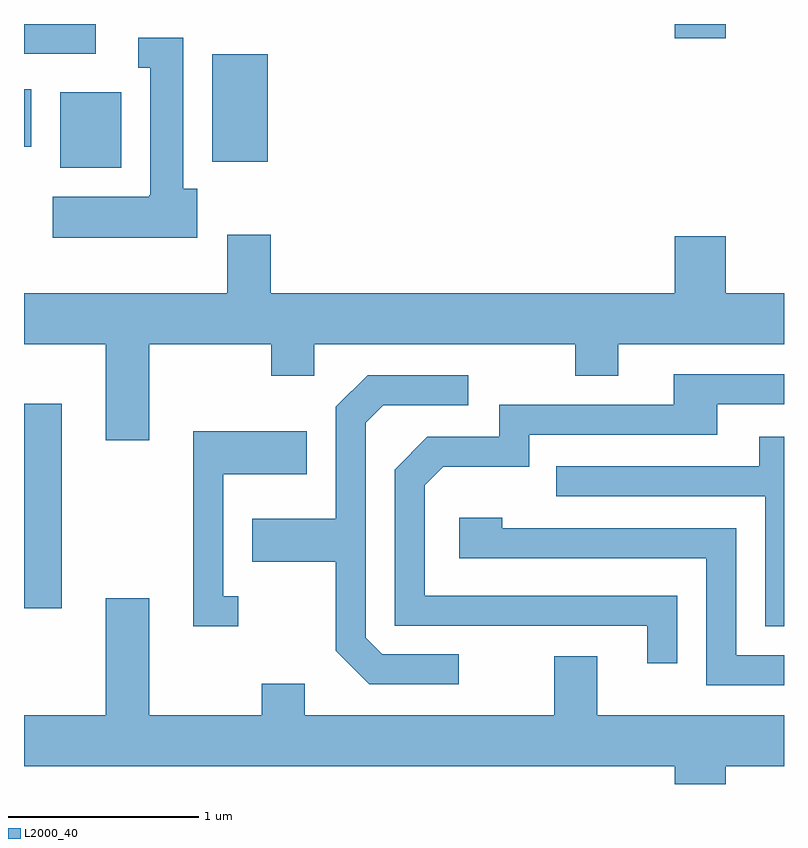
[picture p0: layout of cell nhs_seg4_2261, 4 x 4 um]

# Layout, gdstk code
import gdstk
lib = gdstk.Library(unit=1e-6, precision=1e-09)
def R(c, l, rs):  # rectangles x0, y0, x1, y1
    for r in rs: c.add(gdstk.rectangle(r[:2], r[2:], *l))
def P(c, l, *ps):  # polygons
    for p in ps: c.add(gdstk.Polygon(p, *l))
L2000_40 = (2000, 40)

nhs_seg4_2261 = lib.new_cell('nhs_seg4_2261')
R(nhs_seg4_2261, L2000_40, [(251.611,1288.906,251.809,1289.984), (251.801,1291.226,252.124,1291.624), (252.601,1291.256,252.894,1291.824), (251.611,1291.336,251.649,1291.639), (251.611,1291.826,251.989,1291.982), (255.036,1291.906,255.304,1291.982)])
P(nhs_seg4_2261, L2000_40, [(252.524,1291.114),(252.449,1291.114),(252.449,1291.909),(252.213,1291.909),(252.213,1291.751),(252.276,1291.751),(252.276,1291.08),(252.27,1291.08),(252.27,1291.074),(251.761,1291.074),(251.761,1290.856),(252.524,1290.856)],
  [(251.611,1290.296),(252.041,1290.296),(252.041,1289.791),(252.269,1289.791),(252.269,1290.296),(252.911,1290.296),(252.911,1290.131),(253.139,1290.131),(253.139,1290.296),(254.511,1290.296),(254.511,1290.131),(254.739,1290.131),(254.739,1290.296),(255.611,1290.296),(255.611,1290.564),(255.304,1290.564),(255.304,1290.864),(255.036,1290.864),(255.036,1290.564),(252.909,1290.564),(252.909,1290.874),(252.681,1290.874),(252.681,1290.564),(251.611,1290.564)],
  [(255.049,1288.974),(253.719,1288.974),(253.719,1289.554),(253.817,1289.651),(254.269,1289.651),(254.269,1289.821),(255.259,1289.821),(255.259,1289.981),(255.611,1289.981),(255.611,1290.139),(255.031,1290.139),(255.031,1289.979),(254.111,1289.979),(254.111,1289.809),(253.734,1289.809),(253.561,1289.637),(253.561,1288.816),(254.891,1288.816),(254.891,1288.618),(255.049,1288.618)],
  [(253.898,1288.664),(253.497,1288.664),(253.409,1288.752),(253.409,1289.884),(253.502,1289.976),(253.948,1289.976),(253.948,1290.134),(253.419,1290.134),(253.251,1289.967),(253.251,1289.379),(252.811,1289.379),(252.811,1289.151),(253.251,1289.151),(253.251,1288.684),(253.429,1288.506),(253.898,1288.506)],
  [(252.738,1288.969),(252.659,1288.969),(252.659,1289.611),(253.099,1289.611),(253.099,1289.839),(252.501,1289.839),(252.501,1288.811),(252.738,1288.811)],
  [(255.611,1289.809),(255.481,1289.809),(255.481,1289.654),(254.413,1289.654),(254.413,1289.496),(255.511,1289.496),(255.511,1288.811),(255.611,1288.811)],
  [(255.611,1288.659),(255.359,1288.659),(255.359,1289.329),(254.129,1289.329),(254.129,1289.384),(253.901,1289.384),(253.901,1289.171),(255.201,1289.171),(255.201,1288.501),(255.611,1288.501)],
  [(255.304,1288.076),(255.611,1288.076),(255.611,1288.344),(254.629,1288.344),(254.629,1288.654),(254.401,1288.654),(254.401,1288.344),(253.089,1288.344),(253.089,1288.509),(252.861,1288.509),(252.861,1288.344),(252.269,1288.344),(252.269,1288.959),(252.041,1288.959),(252.041,1288.344),(251.611,1288.344),(251.611,1288.076),(255.036,1288.076),(255.036,1287.982),(255.304,1287.982)])

lib.write_gds('nhs_seg4_2261.gds')
